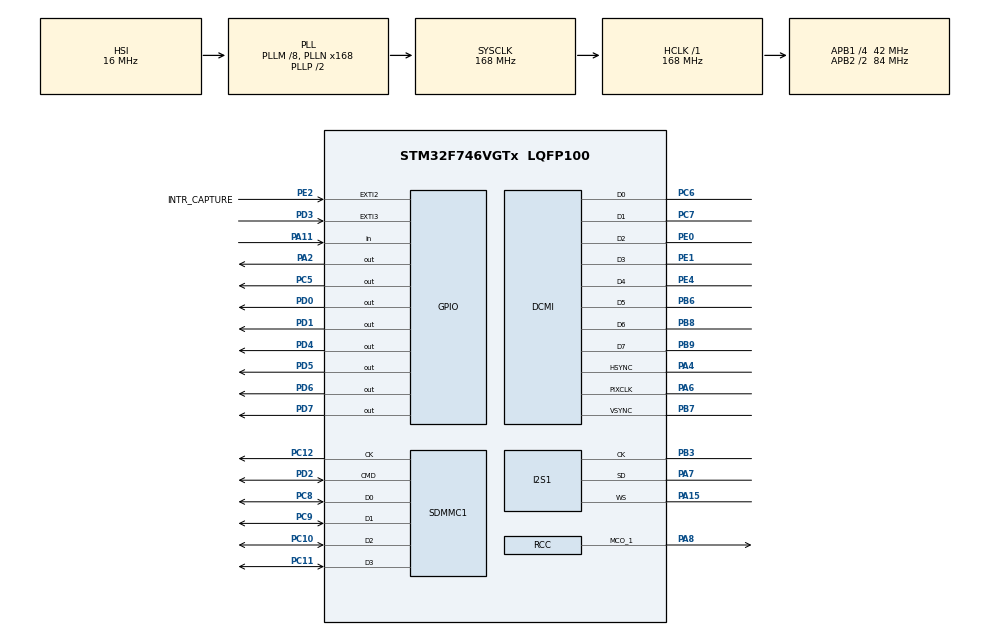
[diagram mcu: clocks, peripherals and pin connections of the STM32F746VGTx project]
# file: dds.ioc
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ARM.CMSIS.5.6.0.CMSISJjCORE=true
ARM.CMSIS.5.6.0.CMSISJjDSP=Source
DCMI.JPEGMode=DCMI_JPEG_ENABLE
DCMI.PCKPolarity=DCMI_PCKPOLARITY_RISING
Dma.DCMI.0.Direction=DMA_PERIPH_TO_MEMORY
Dma.DCMI.0.FIFOMode=DMA_FIFOMODE_DISABLE
Dma.DCMI.0.Instance=DMA2_Stream1
Dma.DCMI.0.MemDataAlignment=DMA_MDATAALIGN_WORD
Dma.DCMI.0.MemInc=DMA_MINC_ENABLE
Dma.DCMI.0.Mode=DMA_NORMAL
Dma.DCMI.0.PeriphDataAlignment=DMA_PDATAALIGN_WORD
Dma.DCMI.0.PeriphInc=DMA_PINC_DISABLE
Dma.DCMI.0.Priority=DMA_PRIORITY_HIGH
Dma.Request0=DCMI
Dma.Request1=SPI1_RX
Dma.SPI1_RX.1.Direction=DMA_PERIPH_TO_MEMORY
Dma.SPI1_RX.1.FIFOMode=DMA_FIFOMODE_DISABLE
Dma.SPI1_RX.1.Instance=DMA2_Stream0
Dma.SPI1_RX.1.MemDataAlignment=DMA_MDATAALIGN_HALFWORD
Dma.SPI1_RX.1.MemInc=DMA_MINC_ENABLE
Dma.SPI1_RX.1.Mode=DMA_NORMAL
Dma.SPI1_RX.1.PeriphDataAlignment=DMA_PDATAALIGN_HALFWORD
Dma.SPI1_RX.1.PeriphInc=DMA_PINC_DISABLE
Dma.SPI1_RX.1.Priority=DMA_PRIORITY_LOW
FATFS.BSP.number=1
FATFS._USE_LFN=1
FATFS0.BSP.STBoard=false
FATFS0.BSP.api=Unknown
FATFS0.BSP.i2caddr=0
FATFS0.BSP.instance=PA11
FATFS0.BSP.ip=GPIO
FATFS0.BSP.mode=Input
FATFS0.BSP.name=Detect_SDIO
FATFS0.BSP.solution=PA11
I2S1.AudioFreq=I2S_AUDIOFREQ_44K
I2S1.CPOL=I2S_CPOL_HIGH
I2S1.DataFormat=I2S_DATAFORMAT_24B
I2S1.ErrorAudioFreq=-1.35 %
I2S1.FullDuplexMode=I2S_FULLDUPLEXMODE_DISABLE
I2S1.Instance=SPI$Index
I2S1.Mode=I2S_MODE_MASTER_RX
I2S1.RealAudioFreq=43.402 KHz
I2S1.Standard=I2S_STANDARD_MSB
I2S1.VirtualMode=I2S_MODE_MASTER
Mcu.Family=STM32F7
Mcu.Name=STM32F746VGTx
Mcu.Package=LQFP100
Mcu.UserConstants=USE_HAL_DCMI_REGISTER_CALLBACKS,1
NVIC.DCMI_IRQn=true\:3\:0\:true\:false\:true\:true\:true
NVIC.DMA2_Stream0_IRQn=true\:0\:0\:false\:false\:true\:false\:true
NVIC.DMA2_Stream1_IRQn=true\:0\:0\:false\:false\:true\:false\:true
NVIC.EXTI2_IRQn=true\:1\:0\:true\:false\:true\:true\:true
NVIC.EXTI3_IRQn=true\:1\:0\:true\:false\:true\:true\:true
NVIC.PriorityGroup=NVIC_PRIORITYGROUP_4
NVIC.SDMMC1_IRQn=true\:2\:0\:true\:false\:true\:true\:true
NVIC.SPI1_IRQn=true\:2\:0\:true\:false\:true\:true\:true
PA11.Signal=GPIO_Input
PA13.Mode=Serial_Wire
PA13.Signal=SYS_JTMS-SWDIO
PA14.Mode=Serial_Wire
PA14.Signal=SYS_JTCK-SWCLK
PA15.Mode=Half_Duplex_Master
PA15.Signal=I2S1_WS
PA2.Signal=GPIO_Output
PA4.Mode=Slave_8_bits_External_Synchro
PA4.Signal=DCMI_HSYNC
PA6.Mode=Slave_8_bits_External_Synchro
PA6.Signal=DCMI_PIXCLK
PA7.Mode=Half_Duplex_Master
PA7.Signal=I2S1_SD
PA8.Mode=Clock-out-1
PA8.Signal=RCC_MCO_1
PB3.Mode=Half_Duplex_Master
PB3.Signal=I2S1_CK
PB6.Mode=Slave_8_bits_External_Synchro
PB6.Signal=DCMI_D5
PB7.Mode=Slave_8_bits_External_Synchro
PB7.Signal=DCMI_VSYNC
PB8.Mode=Slave_8_bits_External_Synchro
PB8.Signal=DCMI_D6
PB9.Mode=Slave_8_bits_External_Synchro
PB9.Signal=DCMI_D7
PC10.GPIO_PuPd=GPIO_PULLUP
PC10.Mode=SD_4_bits_Wide_bus
PC10.Signal=SDMMC1_D2
PC11.GPIO_PuPd=GPIO_PULLUP
PC11.Mode=SD_4_bits_Wide_bus
PC11.Signal=SDMMC1_D3
PC12.GPIO_PuPd=GPIO_PULLUP
PC12.Mode=SD_4_bits_Wide_bus
PC12.Signal=SDMMC1_CK
PC5.Signal=GPIO_Output
PC6.Mode=Slave_8_bits_External_Synchro
PC6.Signal=DCMI_D0
PC7.Mode=Slave_8_bits_External_Synchro
PC7.Signal=DCMI_D1
PC8.GPIO_PuPd=GPIO_PULLUP
PC8.Mode=SD_4_bits_Wide_bus
PC8.Signal=SDMMC1_D0
PC9.GPIO_PuPd=GPIO_PULLUP
PC9.Mode=SD_4_bits_Wide_bus
PC9.Signal=SDMMC1_D1
PD0.GPIO_ModeDefaultOutputPP=GPIO_MODE_OUTPUT_OD
PD0.GPIO_PuPd=GPIO_PULLUP
PD0.GPIO_Speed=GPIO_SPEED_FREQ_VERY_HIGH
PD0.PinState=GPIO_PIN_SET
PD0.Signal=GPIO_Output
PD1.GPIO_ModeDefaultOutputPP=GPIO_MODE_OUTPUT_OD
PD1.GPIO_PuPd=GPIO_PULLUP
PD1.GPIO_Speed=GPIO_SPEED_FREQ_VERY_HIGH
PD1.PinState=GPIO_PIN_SET
PD1.Signal=GPIO_Output
PD2.GPIO_PuPd=GPIO_PULLUP
PD2.Mode=SD_4_bits_Wide_bus
PD2.Signal=SDMMC1_CMD
PD3.GPIO_ModeDefaultEXTI=GPIO_MODE_IT_FALLING
PD3.GPIO_PuPd=GPIO_NOPULL
PD3.Signal=GPXTI3
PD4.Signal=GPIO_Output
PD5.GPIO_ModeDefaultOutputPP=GPIO_MODE_OUTPUT_PP
PD5.Signal=GPIO_Output
PD6.Signal=GPIO_Output
PD7.Signal=GPIO_Output
PE0.Mode=Slave_8_bits_External_Synchro
PE0.Signal=DCMI_D2
PE1.Mode=Slave_8_bits_External_Synchro
PE1.Signal=DCMI_D3
PE2.GPIO_Label=INTR_CAPTURE
PE2.GPIO_ModeDefaultEXTI=GPIO_MODE_IT_FALLING
PE2.GPIO_PuPd=GPIO_NOPULL
PE2.Signal=GPXTI2
PE4.Mode=Slave_8_bits_External_Synchro
PE4.Signal=DCMI_D4
ProjectManager.HeapSize=0x10000
ProjectManager.StackSize=0x800
ProjectManager.TargetToolchain=MDK-ARM V5.27
RCC.AHBFreq_Value=168000000
RCC.APB1CLKDivider=RCC_HCLK_DIV4
RCC.APB1Freq_Value=42000000
RCC.APB1TimFreq_Value=84000000
RCC.APB2CLKDivider=RCC_HCLK_DIV2
RCC.APB2Freq_Value=84000000
RCC.APB2TimFreq_Value=168000000
RCC.CortexFreq_Value=168000000
RCC.HCLKFreq_Value=168000000
RCC.HSE_VALUE=8000000
RCC.HSI_VALUE=16000000
RCC.LSE_VALUE=32768
RCC.PLLI2SN=50
RCC.PLLI2SR=4
RCC.PLLM=8
RCC.PLLN=168
RCC.PLLQ=14
RCC.SDMMCClockSelection=RCC_SDMMC1CLKSOURCE_CLK48
RCC.SYSCLKFreq_VALUE=168000000
RCC.SYSCLKSource=RCC_SYSCLKSOURCE_PLLCLK
RCC.USBFreq_Value=24000000
RCC.VCOOutputFreq_Value=336000000
VP_FATFS_VS_SDIO.Mode=SDIO
board=custom

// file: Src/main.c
#include "main.h"
#include "fatfs.h"

/* USER CODE BEGIN Includes */
#include "ov5640.h"
#include "dsp.h"
#include "board.h"
#include "led.h"
#include "camera.h"
#include "configs.h"
#include "audio.h"
#include "gpio.h"
#include "sdio.h"

#include <string.h>
#include <stdio.h>
#include <stdlib.h>
#include <stdbool.h>
/* USER CODE END Includes */

DCMI_HandleTypeDef hdcmi;
DMA_HandleTypeDef hdma_dcmi;
I2S_HandleTypeDef hi2s1;
DMA_HandleTypeDef hdma_spi1_rx;
SD_HandleTypeDef hsd1;

/* USER CODE BEGIN PV */
volatile bool running = false;
volatile int exti3_int_cnt = 0;

void start_recording();
void stop_recording();

void file_err_handler(void);

volatile bool init_done = false;
/* USER CODE END PV */

void SystemClock_Config(void);
static void MX_GPIO_Init(void);
static void MX_DMA_Init(void);
static void MX_I2S1_Init(void);
static void MX_DCMI_Init(void);
static void MX_SDMMC1_SD_Init(void);

int main(void)
{

  /* MCU Configuration--------------------------------------------------------*/

  /* Reset of all peripherals, Initializes the Flash interface and the Systick. */
  HAL_Init();

  /* Configure the system clock */
  SystemClock_Config();

  /* Initialize all configured peripherals */
  MX_GPIO_Init();
  MX_DMA_Init();
  MX_I2S1_Init();
  MX_DCMI_Init();
  MX_SDMMC1_SD_Init();
  MX_FATFS_Init();
  /* USER CODE BEGIN 2 */

  if (HAL_I2S_DeInit(&hi2s1) != HAL_OK)
  {
    Error_Handler();
  }

  HAL_Delay(100);

  init_gpio();
  init_sd_fatfs();
  init_camera();
  init_lpf();

  led_ready();
  init_done = true;

  /* USER CODE END 2 */

  /* Infinite loop */
  while (1)
  {

    /* USER CODE BEGIN 3 */
    app_background_audio(running);
    app_background_camera(&hdcmi);
  }
  /* USER CODE END 3 */
}

void SystemClock_Config(void)
{
  RCC_OscInitTypeDef RCC_OscInitStruct = {0};
  RCC_ClkInitTypeDef RCC_ClkInitStruct = {0};
  RCC_PeriphCLKInitTypeDef PeriphClkInitStruct = {0};

  /** Configure the main internal regulator output voltage
   */
  __HAL_RCC_PWR_CLK_ENABLE();
  __HAL_PWR_VOLTAGESCALING_CONFIG(PWR_REGULATOR_VOLTAGE_SCALE2);
  /** Initializes the CPU, AHB and APB busses clocks
   */
  RCC_OscInitStruct.OscillatorType = RCC_OSCILLATORTYPE_HSI;
  RCC_OscInitStruct.HSIState = RCC_HSI_ON;
  RCC_OscInitStruct.HSICalibrationValue = RCC_HSICALIBRATION_DEFAULT;
  RCC_OscInitStruct.PLL.PLLState = RCC_PLL_ON;
  RCC_OscInitStruct.PLL.PLLSource = RCC_PLLSOURCE_HSI;
  RCC_OscInitStruct.PLL.PLLM = 8;
  RCC_OscInitStruct.PLL.PLLN = 168;
  RCC_OscInitStruct.PLL.PLLP = RCC_PLLP_DIV2;
  RCC_OscInitStruct.PLL.PLLQ = 14;
  if (HAL_RCC_OscConfig(&RCC_OscInitStruct) != HAL_OK)
  {
    Error_Handler();
  }
  /** Initializes the CPU, AHB and APB busses clocks
   */
  RCC_ClkInitStruct.ClockType = RCC_CLOCKTYPE_HCLK | RCC_CLOCKTYPE_SYSCLK | RCC_CLOCKTYPE_PCLK1 | RCC_CLOCKTYPE_PCLK2;
  RCC_ClkInitStruct.SYSCLKSource = RCC_SYSCLKSOURCE_PLLCLK;
  RCC_ClkInitStruct.AHBCLKDivider = RCC_SYSCLK_DIV1;
  RCC_ClkInitStruct.APB1CLKDivider = RCC_HCLK_DIV4;
  RCC_ClkInitStruct.APB2CLKDivider = RCC_HCLK_DIV2;

  if (HAL_RCC_ClockConfig(&RCC_ClkInitStruct, FLASH_LATENCY_5) != HAL_OK)
  {
    Error_Handler();
  }
  PeriphClkInitStruct.PeriphClockSelection = RCC_PERIPHCLK_SDMMC1 | RCC_PERIPHCLK_I2S | RCC_PERIPHCLK_CLK48;
  PeriphClkInitStruct.PLLI2S.PLLI2SN = 50;
  PeriphClkInitStruct.PLLI2S.PLLI2SP = RCC_PLLP_DIV2;
  PeriphClkInitStruct.PLLI2S.PLLI2SR = 4;
  PeriphClkInitStruct.PLLI2S.PLLI2SQ = 2;
  PeriphClkInitStruct.PLLI2SDivQ = 1;
  PeriphClkInitStruct.I2sClockSelection = RCC_I2SCLKSOURCE_PLLI2S;
  PeriphClkInitStruct.Clk48ClockSelection = RCC_CLK48SOURCE_PLL;
  PeriphClkInitStruct.Sdmmc1ClockSelection = RCC_SDMMC1CLKSOURCE_CLK48;
  if (HAL_RCCEx_PeriphCLKConfig(&PeriphClkInitStruct) != HAL_OK)
  {
    Error_Handler();
  }
  HAL_RCC_MCOConfig(RCC_MCO1, RCC_MCO1SOURCE_HSI, RCC_MCODIV_1);
}

static void MX_DCMI_Init(void)
{

  hdcmi.Instance = DCMI;
  hdcmi.Init.SynchroMode = DCMI_SYNCHRO_HARDWARE;
  hdcmi.Init.PCKPolarity = DCMI_PCKPOLARITY_RISING;
  hdcmi.Init.VSPolarity = DCMI_VSPOLARITY_LOW;
  hdcmi.Init.HSPolarity = DCMI_HSPOLARITY_LOW;
  hdcmi.Init.CaptureRate = DCMI_CR_ALL_FRAME;
  hdcmi.Init.ExtendedDataMode = DCMI_EXTEND_DATA_8B;
  hdcmi.Init.JPEGMode = DCMI_JPEG_ENABLE;
  hdcmi.Init.ByteSelectMode = DCMI_BSM_ALL;
  hdcmi.Init.ByteSelectStart = DCMI_OEBS_ODD;
  hdcmi.Init.LineSelectMode = DCMI_LSM_ALL;
  hdcmi.Init.LineSelectStart = DCMI_OELS_ODD;
  if (HAL_DCMI_Init(&hdcmi) != HAL_OK)
  {
    Error_Handler();
  }
}

static void MX_I2S1_Init(void)
{

  hi2s1.Instance = SPI1;
  hi2s1.Init.Mode = I2S_MODE_MASTER_RX;
  hi2s1.Init.Standard = I2S_STANDARD_MSB;
  hi2s1.Init.DataFormat = I2S_DATAFORMAT_24B;
  hi2s1.Init.MCLKOutput = I2S_MCLKOUTPUT_DISABLE;
  hi2s1.Init.AudioFreq = I2S_AUDIOFREQ_44K;
  hi2s1.Init.CPOL = I2S_CPOL_HIGH;
  hi2s1.Init.ClockSource = I2S_CLOCK_PLL;
  if (HAL_I2S_Init(&hi2s1) != HAL_OK)
  {
    Error_Handler();
  }
}

static void MX_SDMMC1_SD_Init(void)
{

  hsd1.Instance = SDMMC1;
  hsd1.Init.ClockEdge = SDMMC_CLOCK_EDGE_RISING;
  hsd1.Init.ClockBypass = SDMMC_CLOCK_BYPASS_DISABLE;
  hsd1.Init.ClockPowerSave = SDMMC_CLOCK_POWER_SAVE_DISABLE;
  hsd1.Init.BusWide = SDMMC_BUS_WIDE_1B;
  hsd1.Init.HardwareFlowControl = SDMMC_HARDWARE_FLOW_CONTROL_DISABLE;
  hsd1.Init.ClockDiv = 0;
}

static void MX_DMA_Init(void)
{

  /* DMA controller clock enable */
  __HAL_RCC_DMA2_CLK_ENABLE();

  /* DMA interrupt init */
  /* DMA2_Stream0_IRQn interrupt configuration */
  HAL_NVIC_SetPriority(DMA2_Stream0_IRQn, 0, 0);
  HAL_NVIC_EnableIRQ(DMA2_Stream0_IRQn);
  /* DMA2_Stream1_IRQn interrupt configuration */
  HAL_NVIC_SetPriority(DMA2_Stream1_IRQn, 0, 0);
  HAL_NVIC_EnableIRQ(DMA2_Stream1_IRQn);
}

static void MX_GPIO_Init(void)
{
  GPIO_InitTypeDef GPIO_InitStruct = {0};

  /* GPIO Ports Clock Enable */
  __HAL_RCC_GPIOE_CLK_ENABLE();
  __HAL_RCC_GPIOA_CLK_ENABLE();
  __HAL_RCC_GPIOC_CLK_ENABLE();
  __HAL_RCC_GPIOD_CLK_ENABLE();
  __HAL_RCC_GPIOB_CLK_ENABLE();

  /*Configure GPIO pin Output Level */
  HAL_GPIO_WritePin(GPIOA, GPIO_PIN_2, GPIO_PIN_RESET);

  /*Configure GPIO pin Output Level */
  HAL_GPIO_WritePin(GPIOC, GPIO_PIN_5, GPIO_PIN_RESET);

  /*Configure GPIO pin Output Level */
  HAL_GPIO_WritePin(GPIOD, GPIO_PIN_0 | GPIO_PIN_1, GPIO_PIN_SET);

  /*Configure GPIO pin Output Level */
  HAL_GPIO_WritePin(GPIOD, GPIO_PIN_4 | GPIO_PIN_5 | GPIO_PIN_6 | GPIO_PIN_7, GPIO_PIN_RESET);

  /*Configure GPIO pin : INTR_CAPTURE_Pin */
  GPIO_InitStruct.Pin = INTR_CAPTURE_Pin;
  GPIO_InitStruct.Mode = GPIO_MODE_IT_FALLING;
  GPIO_InitStruct.Pull = GPIO_NOPULL;
  HAL_GPIO_Init(INTR_CAPTURE_GPIO_Port, &GPIO_InitStruct);

  /*Configure GPIO pin : PA2 */
  GPIO_InitStruct.Pin = GPIO_PIN_2;
  GPIO_InitStruct.Mode = GPIO_MODE_OUTPUT_PP;
  GPIO_InitStruct.Pull = GPIO_NOPULL;
  GPIO_InitStruct.Speed = GPIO_SPEED_FREQ_LOW;
  HAL_GPIO_Init(GPIOA, &GPIO_InitStruct);

  /*Configure GPIO pin : PC5 */
  GPIO_InitStruct.Pin = GPIO_PIN_5;
  GPIO_InitStruct.Mode = GPIO_MODE_OUTPUT_PP;
  GPIO_InitStruct.Pull = GPIO_NOPULL;
  GPIO_InitStruct.Speed = GPIO_SPEED_FREQ_LOW;
  HAL_GPIO_Init(GPIOC, &GPIO_InitStruct);

  /*Configure GPIO pin : PA8 */
  GPIO_InitStruct.Pin = GPIO_PIN_8;
  GPIO_InitStruct.Mode = GPIO_MODE_AF_PP;
  GPIO_InitStruct.Pull = GPIO_NOPULL;
  GPIO_InitStruct.Speed = GPIO_SPEED_FREQ_LOW;
  GPIO_InitStruct.Alternate = GPIO_AF0_MCO;
  HAL_GPIO_Init(GPIOA, &GPIO_InitStruct);

  /*Configure GPIO pin : PA11 */
  GPIO_InitStruct.Pin = GPIO_PIN_11;
  GPIO_InitStruct.Mode = GPIO_MODE_INPUT;
  GPIO_InitStruct.Pull = GPIO_NOPULL;
  HAL_GPIO_Init(GPIOA, &GPIO_InitStruct);

  /*Configure GPIO pins : PD0 PD1 */
  GPIO_InitStruct.Pin = GPIO_PIN_0 | GPIO_PIN_1;
  GPIO_InitStruct.Mode = GPIO_MODE_OUTPUT_OD;
  GPIO_InitStruct.Pull = GPIO_PULLUP;
  GPIO_InitStruct.Speed = GPIO_SPEED_FREQ_VERY_HIGH;
  HAL_GPIO_Init(GPIOD, &GPIO_InitStruct);

  /*Configure GPIO pin : PD3 */
  GPIO_InitStruct.Pin = GPIO_PIN_3;
  GPIO_InitStruct.Mode = GPIO_MODE_IT_FALLING;
  GPIO_InitStruct.Pull = GPIO_NOPULL;
  HAL_GPIO_Init(GPIOD, &GPIO_InitStruct);

  /*Configure GPIO pins : PD4 PD5 PD6 PD7 */
  GPIO_InitStruct.Pin = GPIO_PIN_4 | GPIO_PIN_5 | GPIO_PIN_6 | GPIO_PIN_7;
  GPIO_InitStruct.Mode = GPIO_MODE_OUTPUT_PP;
  GPIO_InitStruct.Pull = GPIO_NOPULL;
  GPIO_InitStruct.Speed = GPIO_SPEED_FREQ_LOW;
  HAL_GPIO_Init(GPIOD, &GPIO_InitStruct);

  /* EXTI interrupt init*/
  HAL_NVIC_SetPriority(EXTI2_IRQn, 1, 0);
  HAL_NVIC_EnableIRQ(EXTI2_IRQn);

  HAL_NVIC_SetPriority(EXTI3_IRQn, 1, 0);
  HAL_NVIC_EnableIRQ(EXTI3_IRQn);
}

/* USER CODE BEGIN 4 */

void HAL_GPIO_EXTI_Callback(uint16_t GPIO_Pin)
{
  exti3_int_cnt++;

  if (!init_done)
    return;

  /* Begin critical section */
  HAL_NVIC_DisableIRQ(EXTI2_IRQn);
  HAL_NVIC_DisableIRQ(EXTI3_IRQn);

  led_stop();

  static int debounce_threshhold = 20;
  for (int cnt = 0; cnt < debounce_threshhold;)
  {
    HAL_Delay(10);
    if (HAL_GPIO_ReadPin(GPIOD, GPIO_Pin) == GPIO_PIN_RESET)
    {
      cnt = 0;
    }
    else
    {
      cnt++;
    }
  }

  switch (GPIO_Pin)
  {
  case BTN_FLASHLIGHT:
    toggle_flashlight();
    break;

  case BTN_RECORDING:
    led_success();

    if (!running)
    {
      start_recording();
    }
    else
    {
      stop_recording();
    }
    break;

  default:
    break;
  }

  /* End critical section and resume interrupts */
  HAL_NVIC_EnableIRQ(EXTI2_IRQn);
  HAL_NVIC_EnableIRQ(EXTI3_IRQn);
  HAL_NVIC_ClearPendingIRQ(EXTI2_IRQn);
  HAL_NVIC_ClearPendingIRQ(EXTI3_IRQn);
  __HAL_GPIO_EXTI_CLEAR_IT(GPIO_PIN_3);
}

void HAL_I2S_RxCpltCallback(I2S_HandleTypeDef *hi2s)
{
  app_audio_callback(hi2s);
}

void HAL_I2S_ErrorCallback(I2S_HandleTypeDef *hi2s)
{
}

void stop_recording()
{
  running = false;
  stop_camera();
  stop_audio();
  led_stop();
}

void start_recording()
{
  led_success();
  start_audio();
  start_camera();
  led_ready();
  running = true;
}

/* USER CODE END 4 */

void Error_Handler(void)
{
}

/************************ (C) COPYRIGHT STMicroelectronics *****END OF FILE****/
